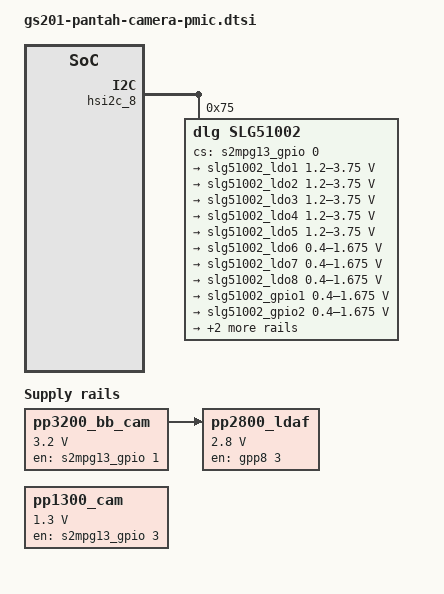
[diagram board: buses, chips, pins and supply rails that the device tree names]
// SPDX-License-Identifier: GPL-2.0-only
/*
 * gs201 camera PMIC device tree for pantah
 *
 * Copyright 2021 Google LLC.
 *
 */

#include <arm64/exynos/exynos-pinctrl.h>

/ {
	fragment@camera_supply {
		target-path = "/";
		__overlay__ {
			pp3200_bb_cam: cam_supply@0 {
				compatible = "regulator-fixed";
				status = "okay";
				regulator-name = "PP3200_BB_CAM";
				regulator-min-microvolt = <3200000>;
				regulator-max-microvolt = <3200000>;
				/* 2ms */
				regulator-enable-ramp-delay = <2000>;
				enable-active-high;
				/* EN_BB_CAM */
				gpio = <&s2mpg13_gpio 1 GPIO_ACTIVE_HIGH>;
			};
			pp1300_cam: cam_supply@1 {
				compatible = "regulator-fixed";
				status = "okay";
				regulator-name = "PP1300_CAM";
				regulator-min-microvolt = <1300000>;
				regulator-max-microvolt = <1300000>;
				/* 2ms */
				regulator-enable-ramp-delay = <2000>;
				enable-active-high;
				/* EN_BUCK_CAM */
				gpio = <&s2mpg13_gpio 3 GPIO_ACTIVE_HIGH>;
			};
			pp2800_ldaf: ldaf_supply@0 {
				compatible = "regulator-fixed";
				status = "okay";
				regulator-name = "PP2800_LDAF";
				regulator-min-microvolt = <2800000>;
				regulator-max-microvolt = <2800000>;
				regulator-enable-ramp-delay = <0>;
				enable-active-high;
				/* LDAF_LDO_EN */
				gpio = <&gpp8 3 GPIO_ACTIVE_HIGH>;
				vin-supply = <&pp3200_bb_cam>;
			};
		};
	};
};

&hsi2c_8 {
	/* SLG51002 */
	status = "ok";
	#address-cells = <1>;
	#size-cells = <0>;
	slg51002: slg51002@75 {
		compatible = "dlg,slg51002";
		reg = <0x75>;
		status = "ok";
		dlg,cs-gpios = <&s2mpg13_gpio 0 GPIO_ACTIVE_HIGH>;
		dlg,reg-init-cells = <2>;

		regulators {
			slg51002_ldo1: ldo1 {
				regulator-name = "ldo1";
				regulator-min-microvolt = <1200000>;
				regulator-max-microvolt = <3750000>;
				vin1_2-supply = <&pp3200_bb_cam>;
			};

			slg51002_ldo2: ldo2 {
				regulator-name = "ldo2";
				regulator-min-microvolt = <1200000>;
				regulator-max-microvolt = <3750000>;
				vin1_2-supply = <&pp3200_bb_cam>;
			};

			slg51002_ldo3: ldo3 {
				regulator-name = "ldo3";
				regulator-min-microvolt = <1200000>;
				regulator-max-microvolt = <3750000>;
				vin3-supply = <&pp3200_bb_cam>;
			};

			slg51002_ldo4: ldo4 {
				regulator-name = "ldo4";
				regulator-min-microvolt = <1200000>;
				regulator-max-microvolt = <3750000>;
				vin4-supply = <&pp3200_bb_cam>;
			};

			slg51002_ldo5: ldo5 {
				regulator-name = "ldo5";
				regulator-min-microvolt = <1200000>;
				regulator-max-microvolt = <3750000>;
				vin5-supply = <&pp3200_bb_cam>;
			};

			slg51002_ldo6: ldo6 {
				regulator-name = "ldo6";
				regulator-min-microvolt = <400000>;
				regulator-max-microvolt = <1675000>;
				vin6-supply = <&pp1300_cam>;
			};

			slg51002_ldo7: ldo7 {
				regulator-name = "ldo7";
				regulator-min-microvolt = <400000>;
				regulator-max-microvolt = <1675000>;
				vin7-supply = <&pp1300_cam>;
			};

			slg51002_ldo8: ldo8 {
				regulator-name = "ldo8";
				regulator-min-microvolt = <400000>;
				regulator-max-microvolt = <1675000>;
				vin8-supply = <&pp1300_cam>;
			};

			slg51002_gpio1: gpio1 {
				regulator-name = "gpio1";
				regulator-min-microvolt = <400000>;
				regulator-max-microvolt = <1675000>;
			};

			slg51002_gpio2: gpio2 {
				regulator-name = "gpio2";
				regulator-min-microvolt = <400000>;
				regulator-max-microvolt = <1675000>;
			};

			slg51002_gpio3: gpio3 {
				regulator-name = "gpio3";
				regulator-min-microvolt = <400000>;
				regulator-max-microvolt = <1675000>;
			};

			slg51002_gpio4: gpio4 {
				regulator-name = "gpio4";
				regulator-min-microvolt = <400000>;
				regulator-max-microvolt = <1675000>;
			};
		};

		slg51002_gpio: slg51002_gpio {
			gpio-controller;
			#gpio-cells = <2>;
			ngpios = <8>;
			gpio-ranges = <&slg51002_pinctrl 0 0 8>;
		};

		slg51002_pinctrl: slg51002_pinctrl {
		};
	};
};
